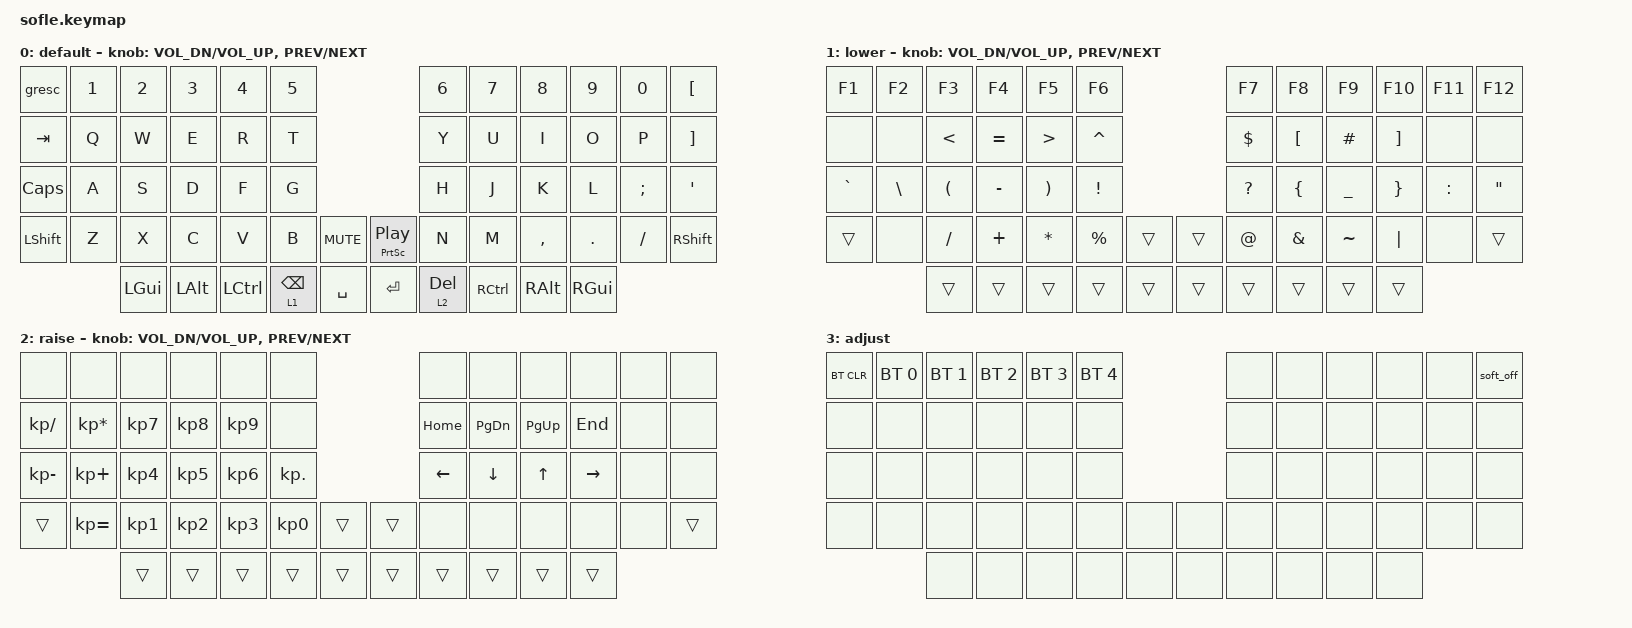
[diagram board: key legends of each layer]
/*
 * Copyright (c) 2020 The ZMK Contributors
 *
 * SPDX-License-Identifier: MIT
 */

#include <behaviors.dtsi>
#include <dt-bindings/zmk/bt.h>
#include <dt-bindings/zmk/keys.h>

#define BASE 0
#define LOWER 1
#define RAISE 2
#define ADJUST 3

&lt {
    quick-tap-ms = <150>;
    flavor = "hold-preferred";
};

&mt { quick-tap-ms = <150>; };

&soft_off { hold-time-ms = <5000>; };

/ {
    // Activate ADJUST layer by pressing raise and lower

    conditional_layers {
        compatible = "zmk,conditional-layers";

        adjust_layer {
            if-layers = <1 2>;
            then-layer = <3>;
        };
    };

    keymap {
        compatible = "zmk,keymap";

        default_layer {
            display-name = "default";
            bindings = <
&gresc        &kp N1  &kp N2    &kp N3    &kp N4     &kp N5                                                       &kp N6        &kp N7     &kp N8     &kp N9    &kp N0    &kp LEFT_BRACKET
&kp TAB       &kp Q   &kp W     &kp E     &kp R      &kp T                                                        &kp Y         &kp U      &kp I      &kp O     &kp P     &kp RIGHT_BRACKET
&kp CAPSLOCK  &kp A   &kp S     &kp D     &kp F      &kp G                                                        &kp H         &kp J      &kp K      &kp L     &kp SEMI  &kp SQT
&kp LSHFT     &kp Z   &kp X     &kp C     &kp V      &kp B            &kp C_MUTE    &mt PRINTSCREEN C_PLAY_PAUSE  &kp N         &kp M      &kp COMMA  &kp DOT   &kp FSLH  &kp RSHFT
                      &kp LGUI  &kp LALT  &kp LCTRL  &lt 1 BACKSPACE  &kp SPACE     &kp ENTER                     &lt 2 DELETE  &kp RCTRL  &kp RALT   &kp RGUI
            >;

            sensor-bindings =
                <&inc_dec_kp C_VOL_DN C_VOL_UP>,
                <&inc_dec_kp C_PREV C_NEXT>;
        };

        lower_layer {
            display-name = "lower";

            // TODO: Some binds are waiting for shifted keycode support.
            // ------------------------------------------------------------------------------------------------------------
            // |       |  F1 |  F2 |  F3  |  F4  |  F5  |                   |  F6  |  F7   |  F8   |  F9  |  F10  |  F11  |
            // |   `   |  1  |  2  |  3   |  4   |  5   |                   |  6   |  7    |  8    |  9   |   0   |  F12  |
            // |       |  !  |  @  |  #   |  $   |  %   |                   |  ^   |  &    |  *    |  (   |   )   |   |   |
            // |       |  =  |  -  |  +   |  {   |  }   |        |  |       |  [   |  ]    |  ;    |  :   |   \   |       |
            //               |     |      |      |      |        |  |       |      |       |       |      |

            bindings = <
&kp F1     &kp F2         &kp F3                &kp F4     &kp F5                 &kp F6                             &kp F7        &kp F8            &kp F9          &kp F10            &kp F11    &kp F12
&none      &none          &kp LESS_THAN         &kp EQUAL  &kp GREATER_THAN       &kp CARET                          &kp DOLLAR    &kp LEFT_BRACKET  &kp HASH        &kp RIGHT_BRACKET  &none      &none
&kp GRAVE  &kp BACKSLASH  &kp LEFT_PARENTHESIS  &kp MINUS  &kp RIGHT_PARENTHESIS  &kp EXCLAMATION                    &kp QUESTION  &kp LEFT_BRACE    &kp UNDERSCORE  &kp RIGHT_BRACE    &kp COLON  &kp DOUBLE_QUOTES
&trans     &none          &kp SLASH             &kp PLUS   &kp ASTERISK           &kp PERCENT      &trans    &trans  &kp AT_SIGN   &kp AMPERSAND     &kp TILDE       &kp PIPE           &none      &trans
                          &trans                &trans     &trans                 &trans           &trans    &trans  &trans        &trans            &trans          &trans
            >;

            sensor-bindings =
                <&inc_dec_kp C_VOL_DN C_VOL_UP>,
                <&inc_dec_kp C_PREV C_NEXT>;
        };

        raise_layer {
            display-name = "raise";

            // ------------------------------------------------------------------------------------------------------------
            // | BTCLR | BT1  | BT2  |  BT3  |  BT4  |  BT5 |                |      |      |       |      |       |       |
            // |       | INS  | PSCR | GUI   |       |      |                | PGUP |      |   ^   |      |       |       |
            // |       | ALT  | CTRL | SHIFT |       | CAPS |                | PGDN |   <- |   v   |  ->  |  DEL  | BKSPC |
            // |       | UNDO | CUT  | COPY  | PASTE |      |      |  |      |      |      |       |      |       |       |
            //                |      |       |       |      |      |  |      |      |      |       |      |

            bindings = <
&none          &none            &none      &none      &none      &none                              &none     &none          &none        &none      &none  &none
&kp KP_DIVIDE  &kp KP_ASTERISK  &kp KP_N7  &kp KP_N8  &kp KP_N9  &none                              &kp HOME  &kp PAGE_DOWN  &kp PAGE_UP  &kp END    &none  &none
&kp KP_MINUS   &kp KP_PLUS      &kp KP_N4  &kp KP_N5  &kp KP_N6  &kp KP_DOT                         &kp LEFT  &kp DOWN       &kp UP       &kp RIGHT  &none  &none
&trans         &kp KP_EQUAL     &kp KP_N1  &kp KP_N2  &kp KP_N3  &kp KP_NUMBER_0  &trans    &trans  &none     &none          &none        &none      &none  &trans
                                &trans     &trans     &trans     &trans           &trans    &trans  &trans    &trans         &trans       &trans
            >;

            sensor-bindings =
                <&inc_dec_kp C_VOL_DN C_VOL_UP>,
                <&inc_dec_kp C_PREV C_NEXT>;
        };

        adjust_layer {
            // ----------------------------------------------------------------------------------------------------------------------------
            // | BTCLR  |  BT1    |  BT2    |   BT3   |   BT4   |   BT5   |                  |      |      |       |      |       |       |
            // | EXTPWR | RGB_HUD | RGB_HUI | RGB_SAD | RGB_SAI | RGB_EFF |                  |      |      |       |      |       |       |
            // |        | RGB_BRD | RGB_BRI |         |         |         |                  |      |      |       |      |       |       |
            // |        |         |         |         |         |         | RGB_TOG | |      |      |      |       |      |       |       |
            //                    |         |         |         |         |         | |      |      |      |       |      |

            display-name = "adjust";
            bindings = <
&bt BT_CLR  &bt BT_SEL 0  &bt BT_SEL 1  &bt BT_SEL 2  &bt BT_SEL 3  &bt BT_SEL 4                  &none  &none  &none  &none  &none  &soft_off
&none       &none         &none         &none         &none         &none                         &none  &none  &none  &none  &none  &none
&none       &none         &none         &none         &none         &none                         &none  &none  &none  &none  &none  &none
&none       &none         &none         &none         &none         &none         &none    &none  &none  &none  &none  &none  &none  &none
                          &none         &none         &none         &none         &none    &none  &none  &none  &none  &none
            >;
        };
    };
};
